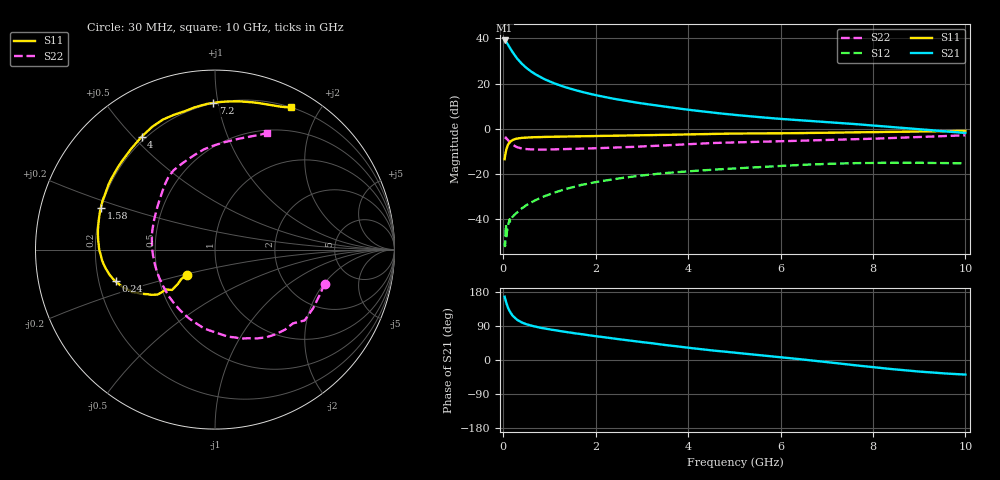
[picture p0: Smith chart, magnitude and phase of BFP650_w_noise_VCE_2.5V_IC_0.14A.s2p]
! Infineon Technologies  Discrete & RF Semiconductors
! BFP650
! VCE =  2.5 V,  IC = 0.14 A
! Common Emitter S-Parameters:  Jan 2016
# GHz  S  MA  R  50
!  f  S11  S21  S12  S22
! GHz  MAG  ANG  MAG  ANG  MAG  ANG  MAG  ANG
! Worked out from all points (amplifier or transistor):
!   229 points, 30 MHz to 10 GHz, reference 50 ohm
!   highest |S21| = 39.1 dB at 30 MHz (marker M1)
!   |S21| within 3 dB of that: start of sweep to 136.5 MHz
!   unconditionally stable (mu >= 1): start of sweep to 42.91 MHz; 790.4 MHz to end of sweep
!   at 280 MHz: K = 0.80, MSG = 34.6 dB, |S12| = -37.5 dB
!   at 1.78 GHz: K = 1.05, MAG = 18.9 dB, |S12| = -24.6 dB
!   at 10 GHz: K = 1.04, MAG = 5.5 dB, |S12| = -15.3 dB
!   lowest NFmin = 1.78 dB at 450 MHz
!   S11 on the Smith chart (normalised r, x): 30 MHz: 0.70, -0.21; 240 MHz: 0.27, -0.14; 1.58 GHz: 0.20, +0.17; 4 GHz: 0.18, +0.53; 7.2 GHz: 0.20, +0.97; 10 GHz: 0.20, +1.65
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0.03  0.2102 -138.1  90.02 167.1  0.0029 80.0  0.6404 -17.2
0.06  0.3285 -136.8  85.36 153.8  0.0075 74.9  0.6366 -38.3
0.08  0.3796 -141.3  79.75 145.8  0.0052 68.6  0.5926 -48.8
0.1  0.435 -144.6  73.95 139.2  0.0067 70.4  0.566 -59.7
0.13  0.4879 -149.8  65.33 130.8  0.0087 61.0  0.5168 -73.7
0.15  0.5154 -152.4  60.43 126.4  0.0088 70.3  0.4907 -81.4
0.2  0.5593 -158.6  49.96 117.3  0.0111 65.2  0.4449 -97.4
0.24  0.5816 -162.3  43.52 112.3  0.0123 62.0  0.4175 -107.2
0.3  0.6048 -166.8  35.91 106.1  0.0138 64.0  0.3901 -119.8
0.4  0.6251 -172.2  27.58 99.2  0.0172 62.8  0.3659 -134.6
0.5  0.6353 -176.4  22.27 94.4  0.0202 65.7  0.3534 -145.1
0.7  0.6489 177.6  15.94 87.8  0.0262 65.3  0.3457 -159.8
1.1  0.6638 168.6  10.14 78.9  0.0382 63.6  0.3484 -177.5
1.58  0.6778 159.8  7.057 70.0  0.0529 59.2  0.3575 169.3
1.7  0.6815 157.6  6.547 68.0  0.0572 58.4  0.3615 166.4
3.4  0.726 131.3  3.174 41.3  0.1015 39.5  0.4219 136.0
4  0.7504 123.0  2.632 32.2  0.1139 32.4  0.4556 128.1
5.1  0.7811 110.8  1.98 18.2  0.1334 21.7  0.501 116.3
6.8  0.8078 95.0  1.451 -2.7  0.1633 4.2  0.5539 98.3
7.2  0.8173 90.6  1.359 -8.2  0.1684 -0.4  0.5671 94.5
8.4  0.8464 75.8  1.092 -23.9  0.1755 -13.7  0.6204 80.3
10  0.8975 61.9  0.806 -38.5  0.1713 -26.4  0.7129 66.0
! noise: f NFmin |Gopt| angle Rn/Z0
0.45  1.78  0.64  -171  0.06
0.9  1.8  0.65  -164  0.07
1.9  1.98  0.67  -149  0.12
2.4  2.15  0.65  -140  0.18
3.5  2.42  0.65  -118  0.33
